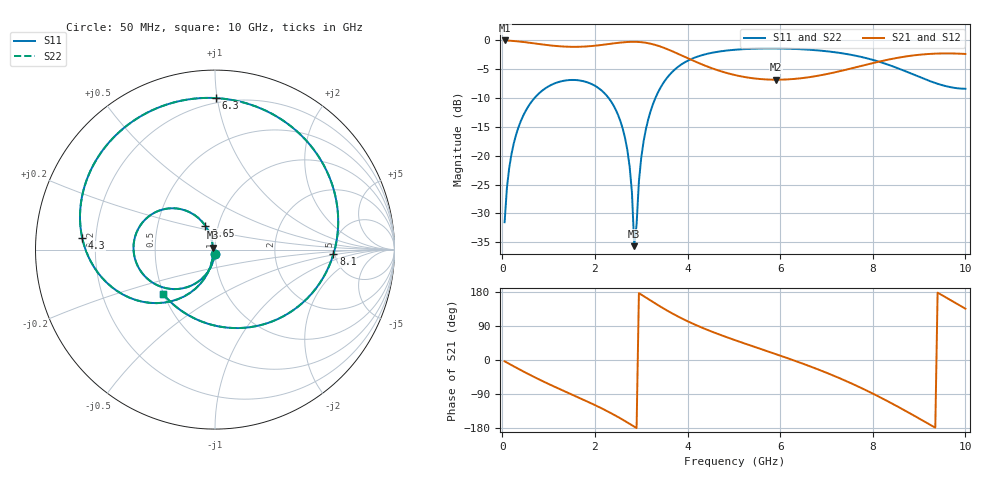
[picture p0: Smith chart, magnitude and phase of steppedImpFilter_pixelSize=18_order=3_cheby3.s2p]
! freq	dB(S11)	phase(S11)	dB(S12)	phase(S12)
!  dB(S21)	phase(S21)	dB(S22)	phase(S22)
!S-par simulation data
#  GHz  S  DB  R 50
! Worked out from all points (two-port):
!   200 points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, 50 MHz to 10 GHz, reference 50 ohm
!   highest |S21| = -0.01 dB at 50 MHz (marker M1); lowest = -6.8 dB at 5.9 GHz (marker M2)
!   |S21| within 3 dB of the highest: start of sweep to 3.983 GHz; 8.543 GHz to end of sweep
!   lowest |S11| = -35.7 dB at 2.85 GHz (marker M3), VSWR 1.03, Z = 48.8 + j1.13 ohm
!   |S11| at or under -10 dB: start of sweep to 694.7 MHz; 2.297 GHz to 3.306 GHz (1.009 GHz wide, 36 % of centre)
!   |S22| runs from -35.7 to -1.4 dB; largest |S21 - S12| = 0
!   S11 on the Smith chart (normalised r, x): 50 MHz: 1.00, -0.05; 2.65 GHz: 0.87, +0.23; 4.3 GHz: 0.15, +0.04; 6.3 GHz: 0.17, +0.99; 8.1 GHz: 4.85, -0.43; 10 GHz: 0.50, -0.29
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0.05  -31.53 -93.5  -0.01 -3.4  -0.01 -3.4  -31.53 -93.5
0.2  -19.64 -104.1  -0.07 -13.6  -0.07 -13.6  -19.64 -104.1
0.5  -12.29 -123.8  -0.31 -33.1  -0.31 -33.1  -12.29 -123.8
1.05  -7.74 -156.7  -0.88 -66.1  -0.88 -66.1  -7.74 -156.7
1.75  -7.07 165.0  -1.07 -104.7  -1.07 -104.7  -7.07 165.0
2.3  -10.03 133.3  -0.62 -137.2  -0.62 -137.2  -10.03 133.2
2.65  -16.90 112.0  -0.30 -161.0  -0.30 -161.0  -16.90 111.9
2.8  -26.41 109.8  -0.24 -172.1  -0.24 -172.1  -26.42 109.5
2.85  -35.68 135.1  -0.24 -175.9  -0.24 -175.9  -35.75 134.5
3.05  -17.56 -107.0  -0.35 168.7  -0.35 168.7  -17.56 -107.0
3.4  -8.43 -130.4  -1.02 142.0  -1.02 142.0  -8.43 -130.5
3.8  -4.55 -157.1  -2.34 114.5  -2.34 114.5  -4.55 -157.1
4.3  -2.59 175.1  -4.12 86.0  -4.12 86.0  -2.59 175.0
5.05  -1.60 141.1  -6.06 51.3  -6.06 51.3  -1.60 141.0
5.9  -1.40 106.3  -6.81 15.8  -6.81 15.8  -1.40 106.2
6.3  -1.47 89.5  -6.68 -1.2  -6.68 -1.2  -1.47 89.5
6.7  -1.65 71.9  -6.28 -19.2  -6.28 -19.2  -1.65 71.8
7.5  -2.45 32.3  -4.93 -59.6  -4.93 -59.6  -2.45 32.3
8.1  -3.60 -2.2  -3.75 -94.7  -3.75 -94.7  -3.60 -2.2
8.35  -4.26 -17.8  -3.31 -110.6  -3.31 -110.6  -4.26 -17.9
9.25  -7.10 -80.3  -2.33 -171.7  -2.33 -171.7  -7.10 -80.2
10  -8.39 -139.6  -2.35 135.4  -2.35 135.4  -8.39 -139.4
